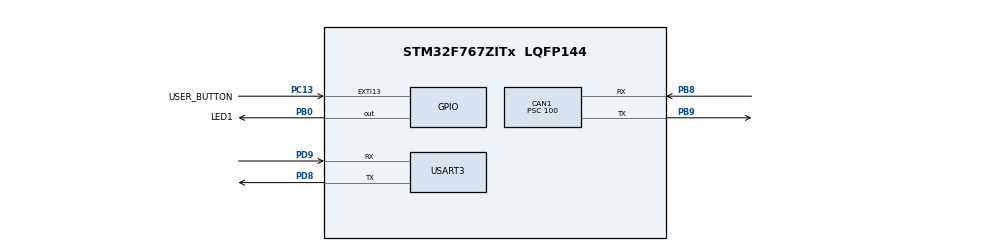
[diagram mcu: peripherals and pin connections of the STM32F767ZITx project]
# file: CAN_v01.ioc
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CAN1.BS1=CAN_BS1_13TQ
CAN1.BS2=CAN_BS2_2TQ
CAN1.CalculateBaudRate=10000
CAN1.CalculateTimeBit=100000.00
CAN1.CalculateTimeQuantum=6250.0
CAN1.Mode=CAN_MODE_LOOPBACK
CAN1.NART=ENABLE
CAN1.Prescaler=100
Mcu.Family=STM32F7
Mcu.Name=STM32F767ZITx
Mcu.Package=LQFP144
NVIC.EXTI15_10_IRQn=true\:0\:0\:false\:false\:true\:true\:true
NVIC.PriorityGroup=NVIC_PRIORITYGROUP_4
PA13.Mode=Trace_Asynchronous_SW
PA13.Signal=SYS_JTMS-SWDIO
PA14.Mode=Trace_Asynchronous_SW
PA14.Signal=SYS_JTCK-SWCLK
PB0.GPIO_Label=LED1
PB0.Signal=GPIO_Output
PB3.Mode=Trace_Asynchronous_SW
PB3.Signal=SYS_JTDO-SWO
PB8.GPIO_PuPd=GPIO_PULLUP
PB8.Mode=CAN_Activate
PB8.Signal=CAN1_RX
PB9.Mode=CAN_Activate
PB9.Signal=CAN1_TX
PC13.GPIO_Label=USER_BUTTON
PC13.GPIO_ModeDefaultEXTI=GPIO_MODE_IT_FALLING
PC13.Signal=GPXTI13
PD8.Mode=Asynchronous
PD8.Signal=USART3_TX
PD9.Mode=Asynchronous
PD9.Signal=USART3_RX
ProjectManager.HeapSize=0x200
ProjectManager.StackSize=0x400
ProjectManager.TargetToolchain=STM32CubeIDE
RCC.HSE_VALUE=25000000
RCC.HSI_VALUE=16000000
RCC.LSE_VALUE=32768
RCC.USBFreq_Value=96000000
RCC.VCOOutputFreq_Value=192000000
USART3.VirtualMode-Asynchronous=VM_ASYNC
board=custom

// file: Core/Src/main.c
/* USER CODE BEGIN Header */
/**
  ******************************************************************************
  * @file           : main.c
  * @brief          : Main program body
  ******************************************************************************
  * @attention
  *
  * <h2><center>&copy; Copyright (c) 2021 STMicroelectronics.
  * All rights reserved.</center></h2>
  *
  * This software component is licensed by ST under BSD 3-Clause license,
  * the "License"; You may not use this file except in compliance with the
  * License. You may obtain a copy of the License at:
  *                        opensource.org/licenses/BSD-3-Clause
  *
  ******************************************************************************
  */
/* USER CODE END Header */
#include "main.h"

/* USER CODE BEGIN Includes */
#include <stdio.h>
#include <string.h>
/* USER CODE END Includes */

CAN_HandleTypeDef hcan1;

UART_HandleTypeDef huart3;

/* USER CODE BEGIN PV */
volatile uint8_t button=0;
/* USER CODE END PV */

void SystemClock_Config(void);
static void MX_GPIO_Init(void);
static void MX_USART3_UART_Init(void);
static void MX_CAN1_Init(void);
/* USER CODE BEGIN PFP */
void CAN1_Tx(void);
/* USER CODE END PFP */

int main(void)
{

  /* MCU Configuration--------------------------------------------------------*/

  /* Reset of all peripherals, Initializes the Flash interface and the Systick. */
  HAL_Init();

  /* Configure the system clock */
  SystemClock_Config();

  /* Initialize all configured peripherals */
  MX_GPIO_Init();
  MX_USART3_UART_Init();
  MX_CAN1_Init();
  /* USER CODE BEGIN 2 */
  CAN1_Tx();

  /* USER CODE END 2 */

  /* Infinite loop */
  /* USER CODE BEGIN WHILE */
  while (1)
  {

	 if(button==1){
		 HAL_Delay(500);
		 HAL_GPIO_WritePin(LED1_GPIO_Port, LED1_Pin, GPIO_PIN_RESET);
		 button=0;
	 }

    /* USER CODE END WHILE */

  }
}

void SystemClock_Config(void)
{
  RCC_OscInitTypeDef RCC_OscInitStruct = {0};
  RCC_ClkInitTypeDef RCC_ClkInitStruct = {0};
  RCC_PeriphCLKInitTypeDef PeriphClkInitStruct = {0};

  /** Configure the main internal regulator output voltage
  */
  __HAL_RCC_PWR_CLK_ENABLE();
  __HAL_PWR_VOLTAGESCALING_CONFIG(PWR_REGULATOR_VOLTAGE_SCALE3);
  /** Initializes the RCC Oscillators according to the specified parameters
  * in the RCC_OscInitTypeDef structure.
  */
  RCC_OscInitStruct.OscillatorType = RCC_OSCILLATORTYPE_HSI;
  RCC_OscInitStruct.HSIState = RCC_HSI_ON;
  RCC_OscInitStruct.HSICalibrationValue = RCC_HSICALIBRATION_DEFAULT;
  RCC_OscInitStruct.PLL.PLLState = RCC_PLL_NONE;
  if (HAL_RCC_OscConfig(&RCC_OscInitStruct) != HAL_OK)
  {
    Error_Handler();
  }
  /** Initializes the CPU, AHB and APB buses clocks
  */
  RCC_ClkInitStruct.ClockType = RCC_CLOCKTYPE_HCLK|RCC_CLOCKTYPE_SYSCLK
                              |RCC_CLOCKTYPE_PCLK1|RCC_CLOCKTYPE_PCLK2;
  RCC_ClkInitStruct.SYSCLKSource = RCC_SYSCLKSOURCE_HSI;
  RCC_ClkInitStruct.AHBCLKDivider = RCC_SYSCLK_DIV1;
  RCC_ClkInitStruct.APB1CLKDivider = RCC_HCLK_DIV1;
  RCC_ClkInitStruct.APB2CLKDivider = RCC_HCLK_DIV1;

  if (HAL_RCC_ClockConfig(&RCC_ClkInitStruct, FLASH_LATENCY_0) != HAL_OK)
  {
    Error_Handler();
  }
  PeriphClkInitStruct.PeriphClockSelection = RCC_PERIPHCLK_USART3;
  PeriphClkInitStruct.Usart3ClockSelection = RCC_USART3CLKSOURCE_PCLK1;
  if (HAL_RCCEx_PeriphCLKConfig(&PeriphClkInitStruct) != HAL_OK)
  {
    Error_Handler();
  }
}

static void MX_CAN1_Init(void)
{

  hcan1.Instance = CAN1;
  hcan1.Init.Prescaler = 100;
  hcan1.Init.Mode = CAN_MODE_LOOPBACK;
  hcan1.Init.SyncJumpWidth = CAN_SJW_1TQ;
  hcan1.Init.TimeSeg1 = CAN_BS1_13TQ;
  hcan1.Init.TimeSeg2 = CAN_BS2_2TQ;
  hcan1.Init.TimeTriggeredMode = DISABLE;
  hcan1.Init.AutoBusOff = DISABLE;
  hcan1.Init.AutoWakeUp = DISABLE;
  hcan1.Init.AutoRetransmission = ENABLE;
  hcan1.Init.ReceiveFifoLocked = DISABLE;
  hcan1.Init.TransmitFifoPriority = DISABLE;
  if (HAL_CAN_Init(&hcan1) != HAL_OK)
  {
    Error_Handler();
  }

}

static void MX_USART3_UART_Init(void)
{

  huart3.Instance = USART3;
  huart3.Init.BaudRate = 115200;
  huart3.Init.WordLength = UART_WORDLENGTH_8B;
  huart3.Init.StopBits = UART_STOPBITS_1;
  huart3.Init.Parity = UART_PARITY_NONE;
  huart3.Init.Mode = UART_MODE_TX_RX;
  huart3.Init.HwFlowCtl = UART_HWCONTROL_NONE;
  huart3.Init.OverSampling = UART_OVERSAMPLING_16;
  huart3.Init.OneBitSampling = UART_ONE_BIT_SAMPLE_DISABLE;
  huart3.AdvancedInit.AdvFeatureInit = UART_ADVFEATURE_NO_INIT;
  if (HAL_UART_Init(&huart3) != HAL_OK)
  {
    Error_Handler();
  }

}

static void MX_GPIO_Init(void)
{
  GPIO_InitTypeDef GPIO_InitStruct = {0};

  /* GPIO Ports Clock Enable */
  __HAL_RCC_GPIOC_CLK_ENABLE();
  __HAL_RCC_GPIOB_CLK_ENABLE();
  __HAL_RCC_GPIOD_CLK_ENABLE();
  __HAL_RCC_GPIOA_CLK_ENABLE();

  /*Configure GPIO pin Output Level */
  HAL_GPIO_WritePin(LED1_GPIO_Port, LED1_Pin, GPIO_PIN_RESET);

  /*Configure GPIO pin : USER_BUTTON_Pin */
  GPIO_InitStruct.Pin = USER_BUTTON_Pin;
  GPIO_InitStruct.Mode = GPIO_MODE_IT_FALLING;
  GPIO_InitStruct.Pull = GPIO_NOPULL;
  HAL_GPIO_Init(USER_BUTTON_GPIO_Port, &GPIO_InitStruct);

  /*Configure GPIO pin : LED1_Pin */
  GPIO_InitStruct.Pin = LED1_Pin;
  GPIO_InitStruct.Mode = GPIO_MODE_OUTPUT_PP;
  GPIO_InitStruct.Pull = GPIO_NOPULL;
  GPIO_InitStruct.Speed = GPIO_SPEED_FREQ_LOW;
  HAL_GPIO_Init(LED1_GPIO_Port, &GPIO_InitStruct);

  /* EXTI interrupt init*/
  HAL_NVIC_SetPriority(EXTI15_10_IRQn, 0, 0);
  HAL_NVIC_EnableIRQ(EXTI15_10_IRQn);

}

/* USER CODE BEGIN 4 */
void HAL_GPIO_EXTI_Callback(uint16_t GPIO_Pin){
	if(GPIO_Pin == USER_BUTTON_Pin){
		HAL_GPIO_WritePin(LED1_GPIO_Port, LED1_Pin, GPIO_PIN_SET);
		CAN1_Tx();
		button=1;
	}
}
void CAN1_Tx(void){

	char msg[50];

	CAN_TxHeaderTypeDef TxHeader;

	uint32_t TxMailbox;

	uint8_t our_message[5]={'H','E','L','L','O'};
	HAL_CAN_Start(&hcan1);
	TxHeader.DLC = 5;
	TxHeader.StdId = 0x65D;
	TxHeader.IDE = CAN_ID_STD;
	TxHeader.RTR = CAN_RTR_DATA;

	if(HAL_CAN_AddTxMessage(&hcan1, &TxHeader, our_message, &TxMailbox)!=HAL_OK){

		Error_Handler();
	}

	while(HAL_CAN_IsTxMessagePending(&hcan1, TxMailbox));

	sprintf(msg,"Message Transmitted\r\n");
	HAL_UART_Transmit(&huart3, (uint8_t*)msg, strlen(msg), HAL_MAX_DELAY);

}
/* USER CODE END 4 */

void Error_Handler(void)
{
  __disable_irq();
  while (1)
  {
  }
}

/************************ (C) COPYRIGHT STMicroelectronics *****END OF FILE****/
